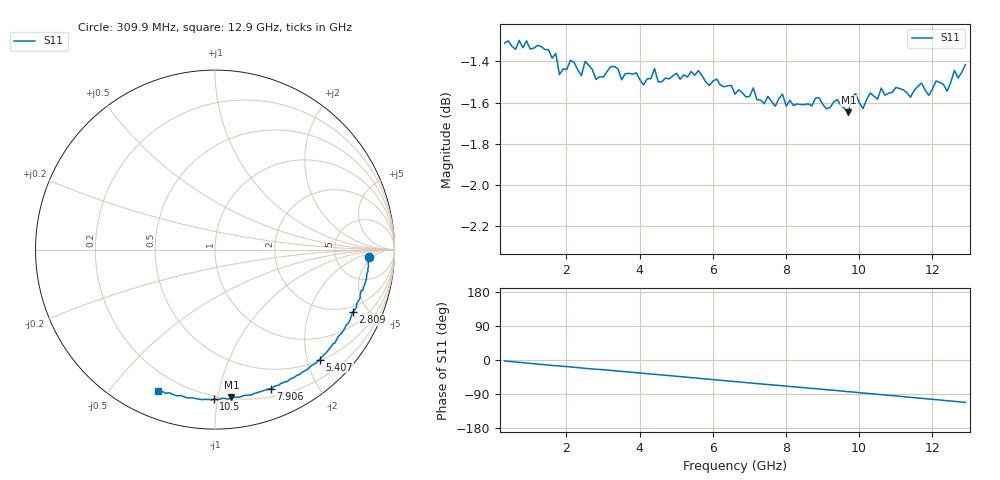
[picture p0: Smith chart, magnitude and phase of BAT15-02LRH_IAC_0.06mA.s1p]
! Infineon Technologies  Discrete & RF Semiconductors
! BAT15-02LRH
! IAC = 0.06 mA
! One-Port S-Parameters
# Hz  S  MA  R  50
!f  S11
!Hz  Mag  Ang
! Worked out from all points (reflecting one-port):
!   127 points, 309.9 MHz to 12.9 GHz, reference 50 ohm
!   lowest |S11| = -1.6 dB at 9.705 GHz (marker M1), VSWR 10.57, Z = 10.5 - j54.7 ohm
!   phase of S11 starts at -3 deg and turns -109 deg over the sweep
!   S11 on the Smith chart (normalised r, x): 309.9 MHz: 12, -4; 2.809 GHz: 1.66, -3.97; 5.407 GHz: 0.52, -2.23; 7.906 GHz: 0.28, -1.44; 10.5 GHz: 0.18, -0.97; 12.9 GHz: 0.12, -0.67
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3.0985e8  0.8599 -2.6
9.0955e8  0.861 -8.0
1.70915e9  0.8549 -15.2
1.8091e9  0.8449 -15.9
1.90905e9  0.8476 -16.6
2.50875e9  0.8511 -22.0
2.8086e9  0.8426 -24.4
3.2084e9  0.8486 -27.4
3.50825e9  0.8424 -30.1
4.4078e9  0.8477 -37.6
5.10745e9  0.8427 -43.7
5.4073e9  0.8464 -46.4
6.10695e9  0.8427 -52.6
6.6067e9  0.8356 -57.0
7.10645e9  0.8386 -61.2
7.90605e9  0.8357 -68.1
8.2059e9  0.8304 -70.7
8.90555e9  0.834 -76.5
9.70515e9  0.8272 -83.7
9.8051e9  0.8344 -84.3
1.050475e10  0.8333 -90.6
1.10045e10  0.8388 -94.8
1.14043e10  0.8343 -98.6
1.170415e10  0.8409 -101.0
1.24038e10  0.8371 -107.6
1.26037e10  0.8468 -109.0
1.270365e10  0.8433 -110.2
1.290355e10  0.8496 -111.8
